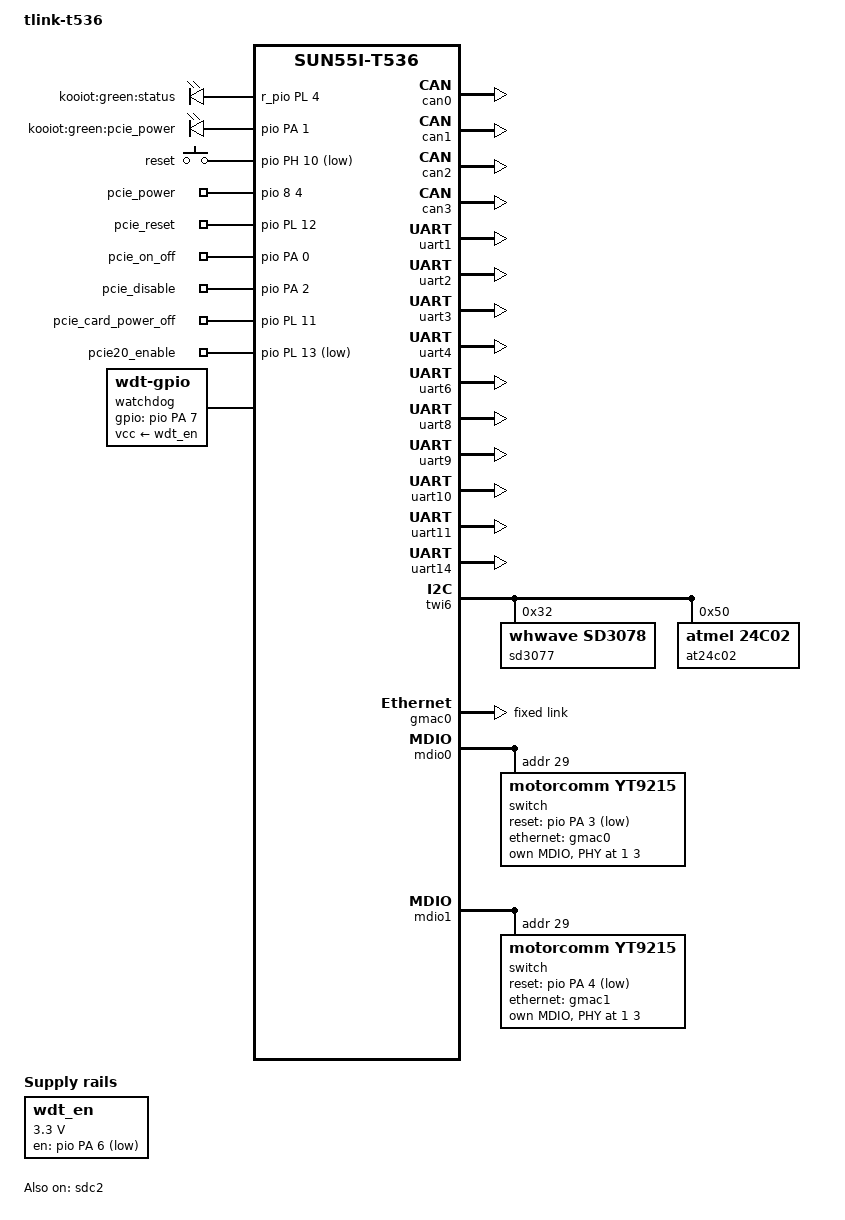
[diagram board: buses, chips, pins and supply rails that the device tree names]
// SPDX-License-Identifier: (GPL-2.0+ or MIT)

#include <dt-bindings/input/input.h>
#include "t536-board.dtsi"
#include "rp-pmic-axp.dtsi"
#include "rp-sdcard-mmc0.dtsi"
// #include "rp-audio-es8388.dtsi"
// #include "rp-bt-sco-codec.dtsi"
// #include "rp-pcie-m2.dtsi"
// #include "rp-wifi-sdio-mmc1.dtsi"
// #include "rp-gmac0-1000m.dtsi"
// #include "rp-gmac1-1000m.dtsi"

// #include "rp-lcd-duallvds-21-1920x1080.dtsi"
// #include "rp-lcd-lvds-10-1024x600.dtsi"
// #include "rp-lcd-mipi-10.1-1920x1200.dtsi"
// #include "rp-lcd-mipi-10.1-1200x1920.dtsi"
// #include "rp-lcd-mipi-10.1-800x1280.dtsi"
// #include "rp-lcd-mipi-8-1200x1920.dtsi"
// #include "rp-lcd-mipi-8-800x1280.dtsi"
// #include "rp-lcd-mipi-7-1200x1920.dtsi"
// #include "rp-lcd-mipi-7-720x1280.dtsi"
// #include "rp-lcd-mipi-7-1024x600.dtsi"
// #include "rp-lcd-mipi-5.5-720x1280.dtsi"
// #include "rp-lcd-mipi-5-720x1280.dtsi"

// #include "rp-lcd-gpio.dtsi"

/delete-node/ &rgb_panel0;
/delete-node/ &rgb0;
/delete-node/ &lcd0;
/delete-node/ &lvds0;
/delete-node/ &de;
/delete-node/ &dsi0;
/delete-node/ &ledc;
/delete-node/ &ledc_pins_active;
/delete-node/ &ledc_pins_sleep;

/{
    board = "tlink-t536";
    model = "tlink-t536";
	compatible = "kooiot,tlink-t536", "arm,sun55iw6p1";

    /* bluetooth uart use /dev/ttyAS1 */
    bt_uart_idx = "1"; 

	aliases {
		serial0 = &uart0;
		mmc0 = &sdc0;
		mmc1 = &sdc2;
		ethernet0 = &gmac0;
		ethernet1 = &gmac1;
		/*
		serial1 = &uart9;
		serial2 = &uart10;
		serial3 = &uart11;
		serial4 = &uart14;
		serial5 = &uart1;
		serial6 = &uart2;
		serial7 = &uart3;
		serial8 = &uart4;
		serial9 = &uart6;
		serial10 = &uart8;
		*/
	};

	chosen {
		stdout-path = "serial0:115200n8";
	};

	leds {
		compatible = "gpio-leds";

		status {
			label = "kooiot:green:status";
            gpios = <&r_pio PL 4 GPIO_ACTIVE_HIGH>; /* PL4 */
			linux,default-trigger = "heartbeat";
		};

		pcie_pwr {
			label = "kooiot:green:pcie_power";
			gpios = <&pio PA 1 GPIO_ACTIVE_HIGH>; /* PA1 */
			default-state = "off";
		};
	};

	gpio_keys {
		compatible = "gpio-keys-polled";
		poll-interval = <20>;

		reset {
			label = "reset";
			linux,code = <KEY_RESTART>;
			gpios = <&pio PH 10 GPIO_ACTIVE_LOW>; /* PH10 */
		};
	};

	gpio_export {
		compatible = "gpio-export";
		#size-cells = <0>;

		pcie_power {
			gpio-export,name = "pcie_power";
			gpio-export,output=<1>;
			gpios = <&pio 8 4 GPIO_ACTIVE_HIGH>; /* PI4 */
		};

		pcie_reset {
			gpio-export,name = "pcie_reset";
			gpio-export,output=<1>;
			gpios = <&pio PL 12 GPIO_ACTIVE_HIGH>; /* PL12 */
		};

		pcie_on_off {
			gpio-export,name = "pcie_on_off";
			gpio-export,output=<1>;
			gpios = <&pio PA 0 GPIO_ACTIVE_HIGH>; /* PA0 */
		};

		pcie_disable {
			gpio-export,name = "pcie_disable";
			gpio-export,output=<1>;
			gpios = <&pio PA 2 GPIO_ACTIVE_HIGH>; /* PA2 */
		};

		pcie_card_power_off {
			gpio-export,name = "pcie_card_power_off";
			gpio-export,output=<1>;
			gpios = <&pio PL 11 GPIO_ACTIVE_HIGH>; /* PL11 */
		};

		pcie20_enable {
			gpio-export,name = "pcie20_enable";
			gpio-export,output=<0>;  /* or will be USB3.0 */
			gpios = <&pio PL 13 GPIO_ACTIVE_LOW>; /* PL13 */
		};
	};

	watchdog {
		compatible = "linux,wdt-gpio";
		vcc-supply=<&wdt_en>;
		gpios = <&pio PA 7 GPIO_ACTIVE_HIGH>; /* PA7 */
		hw_algo = "toggle";
		hw_margin_ms = <200>;
		always-running;
	};

	/* watchdog enable pin */
	wdt_en: fixedregulator@0 {
		compatible = "regulator-fixed";
		regulator-always-on;
		regulator-boot-on;
		regulator-name = "wdt_en";
		regulator-min-microvolt = <3300000>;
		regulator-max-microvolt = <3300000>;
		gpios = <&pio PA 6 GPIO_ACTIVE_LOW>; /* PA6 */
		startup-delay-us=<3000000>; // 3 seconds
	};
};

&sunxi_drm {
    status = "disabled";
};

&can0 {
    status = "okay";
    pinctrl-names = "default", "sleep";
    pinctrl-0 = <&can0_pins_a>;
    pinctrl-1 = <&can0_pins_b>;
};

&can1 {
    status = "okay";
    pinctrl-names = "default", "sleep";
    pinctrl-0 = <&can1_pins_a>;
    pinctrl-1 = <&can1_pins_b>;
};

&can1_pins_a {
	pins = "PD8", "PD9";
	function = "can1";
};

&can1_pins_b {
	pins = "PD8", "PD9";
	function = "io_disabled";
};

&can2 {
    status = "okay";
    pinctrl-names = "default", "sleep";
    pinctrl-0 = <&can2_pins_a>;
    pinctrl-1 = <&can2_pins_b>;
};

&can3 {
    status = "okay";
    pinctrl-names = "default", "sleep";
    pinctrl-0 = <&can3_pins_a>;
    pinctrl-1 = <&can3_pins_b>;
};

&uart1_pins_a {
	pins = "PG6", "PG7";
};

&uart1_pins_b {
	pins = "PG6", "PG7";
};

&uart1 {
    status = "okay";
	uart1_type = <2>;
	uart1_port = <10>;
};

&uart2_pins_a {
    pins = "PD20", "PD21";
};

&uart2_pins_b {
    pins = "PD20", "PD21";
};

&uart2 {
    status = "okay";
	uart2_type = <2>;
	uart2_port = <11>;
};

&uart3_pins_a {
    pins = "PD14", "PD15";
};

&uart3_pins_b {
    pins = "PD14", "PD15";
};

&uart3 {
    status = "okay";
	uart3_type = <2>;
	uart3_port = <12>;
};

&uart4_pins_a {
    pins = "PI13", "PI14";
};

&uart4_pins_b {
    pins = "PI13", "PI14";
};

&uart4 {
    status = "okay";
	uart4_type = <2>;
	uart4_port = <13>;
};

&uart6 {
    status = "okay";
	uart6_type = <2>;
	uart6_port = <14>;
};

&uart8 {
    status = "okay";
	uart8_type = <2>;
	uart8_port = <15>;
};

&uart9_pins_a {
    pins = "PD0", "PD1";
};

&uart9_pins_b {
    pins = "PD0", "PD1";
};

&uart9 {
    status = "okay";
	uart9_type = <2>;
	uart9_port = <1>;
};

&uart10_pins_a {
    pins = "PD4", "PD5";
};

&uart10_pins_b {
    pins = "PD4", "PD5";
};

&uart10 {
    status = "okay";
	uart10_type = <2>;
	uart10_port = <2>;
};

&uart11_pins_a {
    pins = "PH12", "PH13";
};

&uart11_pins_b {
    pins = "PH12", "PH13";
};

&uart11 {
    status = "okay";
	uart11_type = <2>;
	uart11_port = <3>;
};

&uart14_pins_a {
    pins = "PG10", "PG11";
};

&uart14_pins_b {
    pins = "PG10", "PG11";
};

&uart14 {
    status = "okay";
	uart14_type = <2>;
	uart14_port = <4>;
};

&can0 {
    status = "okay";
};

&can1_pins_a {
	pins = "PD8", "PD9";
};

&can1_pins_b {
	pins = "PD8", "PD9";
};

&can1 {
    status = "okay";
};

&can2 {
    status = "okay";
};

&can3 {
    status = "okay";
};

&twi2 {
    status = "disabled";
};

&twi5 {
    status = "disabled";
};

&twi3 {
    status = "disabled";
};

/* twi-8 */
&s_twi1 {
    status = "disabled";
};

&twi6_pins_default {
	pins = "PD18", "PD19";
};

&twi6_pins_sleep {
	pins = "PD18", "PD19";
};

&twi6 {
	status = "okay";

	sd3077: sd3077@32 {
		compatible = "whwave,sd3078";
		reg = <0x32>;
		status = "okay";
	};

	at24c02: eeprom@50 {
		compatible = "atmel,24c02";
		reg = <0x50>;
		pagesize = <16>;
	};
};

&gpadc0 {
    status = "disabled";
};

&gpadc0 {
    status = "disabled";
};

&pio {
    rp_gpio_pins:rp_gpio_pins {
        pins = "PC7";
        function="gpio_out";
    };
};

&r_pio {
    rp_gpio_pins_r:rp_gpio_pins_r {
        pins = "PL4";
        function="gpio_out";
    };
};

&sdc2 {
    status = "okay";
};

&gmac0 {
	status = "okay";
	pinctrl-names = "default";
	//pinctrl-names = "default", "sleep";
	pinctrl-0 = <&gmac0_pins_default>;
	//pinctrl-1 = <&gmac0_pins_sleep>;
	gmac-power0-supply = <&reg_cldo3>;
	gmac-power1-supply;
	gmac-power2-supply;
	gmac-power0-vol = <3300000>;
	gmac-power1-vol;
	gmac-power2-vol;

    sunxi,phy-clk-type = <1>; // 0:External phy use phy25m clk provided by Soc, 1: External phy use extern osc 25m
    tx-delay = <5>;
    rx-delay = <12>;
    /delete-property/ aw,rgmii-clk-ext;
	/delete-property/ phy-handle;
	aw,soc-phy25m;
	// /delete-property/ aw,soc-phy25m;

	//snps,reset-gpio = <&pio PA 3 GPIO_ACTIVE_LOW>; /* PA3 */
	//snps,reset-delays-us = <0 20000 200000>;

	fixed-link {
		speed = <1000>;
		full-duplex;
		pause;
	};
};

&mdio0 {
	status = "okay";
	#address-cells = <1>;
	#size-cells = <0>;
	/delete-node/ ethernet-phy@1;

	switch@1d {
		compatible = "motorcomm,yt9215";
		/* default 0x1d, alternate 0x0 */
		reg = <0x1d>;
		reset-gpios = <&pio PA 3 GPIO_ACTIVE_LOW>; /* PA3 */
		reset-delay-us = <20000>;
		reset-post-delay-us = <200000>;

		mdio {
			#address-cells = <1>;
			#size-cells = <0>;

			sw0_phy1: phy@1 {
				reg = <0x1>;
			};

			sw0_phy3: phy@3 {
				reg = <0x3>;
			};
		};

		ethernet-ports {
			#address-cells = <1>;
			#size-cells = <0>;

			ethernet-port@1 {
				reg = <1>;
				label = "lan1";
				phy-mode = "internal";
				phy-handle = <&sw0_phy1>;
			};

			ethernet-port@3 {
				reg = <3>;
				label = "lan2";
				phy-mode = "internal";
				phy-handle = <&sw0_phy3>;
			};

			/* CPU port */
			ethernet-port@8 {
				reg = <8>;
				label = "cpu";
				phy-mode = "1000base-x";
				ethernet = <&gmac0>;

				fixed-link {
					speed = <1000>;
					full-duplex;
				};
			};
		};
	};
};


&gmac1 {
    status = "disabled";
    phy-mode = "rgmii";
    pinctrl-names = "default", "sleep";
    pinctrl-0 = <&gmac1_pins_default>;
    pinctrl-1 = <&gmac1_pins_sleep>;
    sunxi,phy-clk-type = <1>; // 0:External phy use phy25m clk provided by Soc, 1: External phy use extern osc 25m
    //tx-delay = <10>;
    //rx-delay = <12>;
    /delete-property/ aw,rgmii-clk-ext;
	/delete-property/ phy-handle;

	// snps,reset-gpio = <&pio 0 3 GPIO_ACTIVE_LOW>; /* PA4 */
	// snps,reset-delays-us = <0 10000 1000000>;

	fixed-link {
		speed = <1000>;
		full-duplex;
		pause;
	};
};

&mdio1 {
    status = "okay";
	#address-cells = <1>;
	#size-cells = <0>;
	/delete-node/ ethernet-phy@1;

	switch@1d {
		compatible = "motorcomm,yt9215";
		/* default 0x1d, alternate 0x0 */
		reg = <0x1d>;
		reset-gpios = <&pio PA 4 GPIO_ACTIVE_LOW>; /* PA4 */
		reset-delay-us = <20000>;
		reset-post-delay-us = <200000>;

		mdio {
			#address-cells = <1>;
			#size-cells = <0>;

			sw1_phy1: phy@1 {
				reg = <0x1>;
			};

			sw1_phy3: phy@3 {
				reg = <0x3>;
			};
		};

		ethernet-ports {
			#address-cells = <1>;
			#size-cells = <0>;

			ethernet-port@1 {
				reg = <1>;
				label = "lan3";
				phy-mode = "internal";
				phy-handle = <&sw1_phy1>;
			};

			ethernet-port@3 {
				reg = <3>;
				label = "lan4";
				phy-mode = "internal";
				phy-handle = <&sw1_phy3>;
			};

			/* CPU port */
			ethernet-port@8 {
				reg = <8>;
				label = "cpu";
				phy-mode = "1000base-x";
				ethernet = <&gmac1>;

				fixed-link {
					speed = <1000>;
					full-duplex;
				};
			};
		};
	};

};
